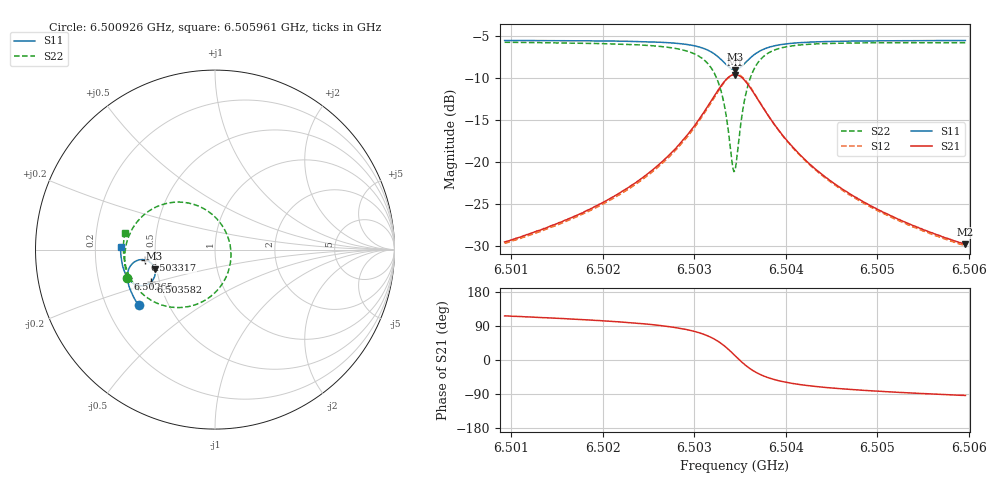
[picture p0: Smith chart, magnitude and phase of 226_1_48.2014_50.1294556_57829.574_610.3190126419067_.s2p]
#  HZ  S  RI  R  50.00
! Rohde & Schwarz Vector Network Analyzer
! Rohde-Schwarz,ZNB20-2Port,1311601062101988,3.16
! Created: UTC 3/20/2024, 11:46:08 AM
! freq[Hz]  re:S11  im:S11  re:S21  im:S21  re:S12  im:S12  re:S22  im:S22
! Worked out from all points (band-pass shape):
!   401 points, 6.500926 GHz to 6.505961 GHz, reference 50 ohm
!   highest |S21| = -9.61 dB at 6.503443 GHz (marker M1); lowest = -29.8 dB at 6.505961 GHz (marker M2)
!   |S21| within 3 dB of the highest: 6.503191 GHz to 6.503695 GHz (504.5 kHz wide, 0.00776 % of centre)
!   lowest |S11| = -9.0 dB at 6.503443 GHz (marker M3), VSWR 2.09, Z = 24.4 - j5.94 ohm
!   |S11| at or under -10 dB: nowhere
!   |S22| runs from -21.2 to -5.8 dB; largest |S21 - S12| = 0.012
!   S11 on the Smith chart (normalised r, x): 6.500926 GHz: 0.34, -0.29; 6.50265 GHz: 0.33, -0.14; 6.503317 GHz: 0.44, -0.06; 6.503582 GHz: 0.45, -0.19; 6.505961 GHz: 0.31, +0.01
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6.5009255e9  -0.4252 -0.3107  -0.0148 0.03  -0.0132 0.0301  -0.4893 -0.1563
6.501769e9  -0.4616 -0.2485  -0.0142 0.0477  -0.0119 0.0473  -0.5029 -0.067
6.5022347e9  -0.4781 -0.2073  -0.0114 0.0672  -0.00834 0.0661  -0.4998 -0.000886
6.5026124e9  -0.4871 -0.1656  -0.00232 0.0966  0.0014 0.0943  -0.4805 0.0744
6.5026501e9  -0.4873 -0.1607  -0.000465 0.1008  0.00309 0.0983  -0.4765 0.0839
6.5029271e9  -0.4835 -0.1178  0.0262 0.1433  0.0299 0.1388  -0.4209 0.1698
6.5031159e9  -0.462 -0.0796  0.0806 0.1856  0.0831 0.1794  -0.3167 0.2423
6.5032292e9  -0.4293 -0.0591  0.15 0.203  0.1508 0.1967  -0.1916 0.2645
6.5033173e9  -0.3887 -0.0574  0.2298 0.1866  0.2302 0.1813  -0.0541 0.2233
6.5033551e9  -0.3694 -0.0652  0.2662 0.163  0.267 0.1586  0.00612 0.1757
6.503418e9  -0.3427 -0.0921  0.3138 0.0987  0.3164 0.0937  0.0779 0.0518
6.5034432e9  -0.3364 -0.1068  0.3239 0.0663  0.3273 0.0603  0.0885 -0.00876
6.5034684e9  -0.3335 -0.1227  0.3275 0.0326  0.3309 0.0254  0.0862 -0.0704
6.5035313e9  -0.3408 -0.1598  0.3089 -0.0456  0.3111 -0.0557  0.0298 -0.2061
6.5035817e9  -0.3572 -0.1819  0.2754 -0.091  0.2749 -0.1026  -0.047 -0.277
6.503695e9  -0.4017 -0.2012  0.1907 -0.136  0.1853 -0.1454  -0.2185 -0.3228
6.5038586e9  -0.4479 -0.1917  0.1087 -0.1327  0.1016 -0.1377  -0.366 -0.2758
6.5040348e9  -0.4754 -0.1703  0.0641 -0.1125  0.0579 -0.1147  -0.4384 -0.2104
6.5042866e9  -0.4961 -0.1404  0.0342 -0.088  0.0293 -0.0886  -0.4816 -0.1382
6.5046642e9  -0.5117 -0.101  0.0151 -0.0648  0.0117 -0.0643  -0.5042 -0.0631
6.50513e9  -0.5211 -0.0578  0.00509 -0.0481  0.00271 -0.0474  -0.5104 0.00259
6.5059608e9  -0.5261 0.0124  -0.00194 -0.0324  -0.0034 -0.0314  -0.5025 0.0904
